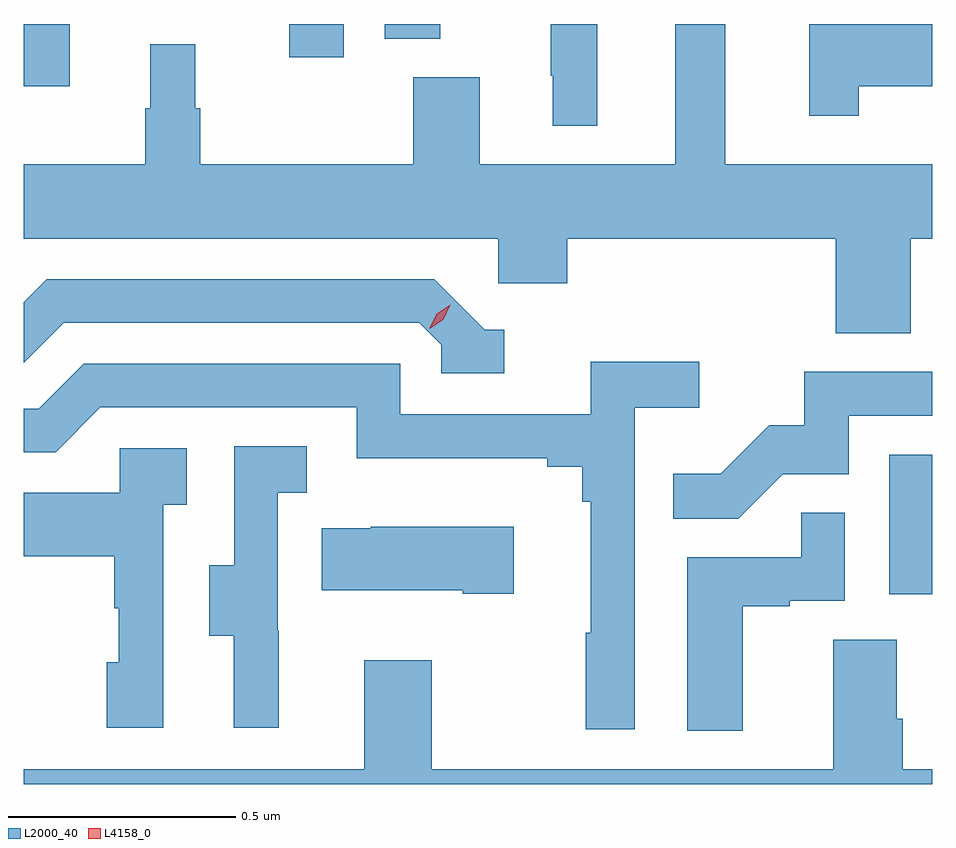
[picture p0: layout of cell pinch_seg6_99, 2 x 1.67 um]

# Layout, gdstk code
import gdstk
lib = gdstk.Library(unit=1e-6, precision=1e-09)
def R(c, l, rs):  # rectangles x0, y0, x1, y1
    for r in rs: c.add(gdstk.rectangle(r[:2], r[2:], *l))
def P(c, l, *ps):  # polygons
    for p in ps: c.add(gdstk.Polygon(p, *l))
L2000_40 = (2000, 40)
L4158_0 = (4158, 0)

pinch_seg6_99 = lib.new_cell('pinch_seg6_99')
R(pinch_seg6_99, L2000_40, [(934.814,915.918,934.909,916.225), (932.909,917.036,933.01,917.173), (933.494,917.1,933.613,917.173), (933.704,917.141,933.826,917.173)])
P(pinch_seg6_99, L2000_40, [(934.171,917.173),(934.069,917.173),(934.069,917.059),(934.073,917.059),(934.073,916.949),(934.171,916.949)],
  [(934.862,916.7),(934.909,916.7),(934.909,916.864),(934.453,916.864),(934.453,917.173),(934.343,917.173),(934.343,916.864),(933.913,916.864),(933.913,917.056),(933.766,917.056),(933.766,916.864),(933.298,916.864),(933.298,916.988),(933.287,916.988),(933.287,917.128),(933.188,917.128),(933.188,916.988),(933.177,916.988),(933.177,916.864),(932.909,916.864),(932.909,916.7),(933.954,916.7),(933.954,916.602),(934.106,916.602),(934.106,916.7),(934.697,916.7),(934.697,916.492),(934.862,916.492)],
  [(934.747,917.036),(934.909,917.036),(934.909,917.173),(934.638,917.173),(934.638,916.971),(934.747,916.971)],
  [(933.967,916.5),(933.924,916.5),(933.813,916.611),(932.96,916.611),(932.909,916.56),(932.909,916.427),(932.997,916.515),(933.78,916.515),(933.828,916.467),(933.828,916.404),(933.967,916.404)],
  [(934.254,916.328),(934.396,916.328),(934.396,916.43),(934.157,916.43),(934.157,916.314),(933.738,916.314),(933.738,916.425),(933.041,916.425),(932.942,916.326),(932.909,916.326),(932.909,916.23),(932.979,916.23),(933.078,916.329),(933.642,916.329),(933.642,916.217),(934.061,916.217),(934.061,916.198),(934.138,916.198),(934.138,916.121),(934.157,916.121),(934.157,915.833),(934.146,915.833),(934.146,915.621),(934.254,915.621)],
  [(934.58,916.182),(934.725,916.182),(934.725,916.311),(934.909,916.311),(934.909,916.407),(934.627,916.407),(934.627,916.29),(934.55,916.29),(934.443,916.183),(934.339,916.183),(934.339,916.084),(934.482,916.084)],
  [(933.47,915.837),(933.468,915.837),(933.468,916.141),(933.532,916.141),(933.532,916.244),(933.372,916.244),(933.372,915.981),(933.317,915.981),(933.317,915.826),(933.371,915.826),(933.371,915.624),(933.47,915.624)],
  [(933.216,916.115),(933.268,916.115),(933.268,916.239),(933.12,916.239),(933.12,916.141),(932.909,916.141),(932.909,916.001),(933.108,916.001),(933.108,915.887),(933.118,915.887),(933.118,915.768),(933.092,915.768),(933.092,915.624),(933.216,915.624)],
  [(934.492,915.891),(934.595,915.891),(934.595,915.903),(934.716,915.903),(934.716,916.097),(934.621,916.097),(934.621,915.999),(934.37,915.999),(934.37,915.617),(934.492,915.617)],
  [(933.988,916.066),(933.673,916.066),(933.673,916.063),(933.565,916.063),(933.565,915.926),(933.875,915.926),(933.875,915.919),(933.988,915.919)],
  [(934.909,915.532),(934.844,915.532),(934.844,915.644),(934.831,915.644),(934.831,915.818),(934.691,915.818),(934.691,915.532),(933.807,915.532),(933.807,915.772),(933.659,915.772),(933.659,915.532),(932.909,915.532),(932.909,915.5),(934.909,915.5)])
P(pinch_seg6_99, L4158_0, [(933.803,916.502),(933.803,916.503),(933.818,916.535),(933.848,916.555),(933.848,916.555),(933.848,916.555),(933.833,916.522),(933.803,916.502)])

lib.write_gds('pinch_seg6_99.gds')
